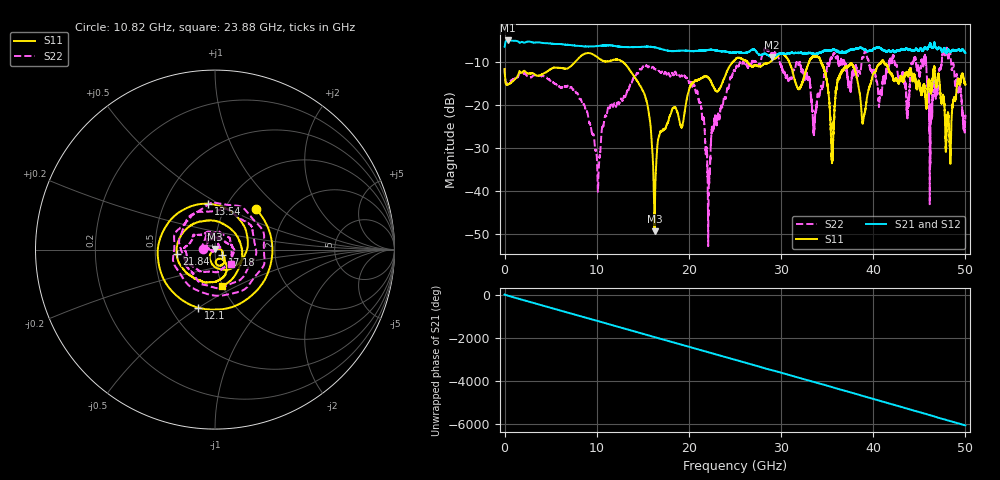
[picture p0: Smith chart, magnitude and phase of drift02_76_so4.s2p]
!Created with skrf (http://scikit-rf.org).
# Hz S RI R 50.0
!freq ReS11 ImS11 ReS21 ImS21 ReS12 ImS12 ReS22 ImS22
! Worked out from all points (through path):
!   10001 points, 300 kHz to 50 GHz, reference 50 ohm
!   highest |S21| = -5.04 dB at 325.3 MHz (marker M1); lowest = -8.9 dB at 28.98 GHz (marker M2)
!   group delay of S21, straight-line fit = 336 ps
!   lowest |S11| = -49.4 dB at 16.27 GHz (marker M3), VSWR 1.01, Z = 49.9 + j0.306 ohm
!   |S11| at or under -10 dB: start of sweep to 7.667 GHz; 12.82 GHz to 24.78 GHz (11.96 GHz wide, 63.6 % of centre); 41.14 GHz to end of sweep (the widest 3 of 9)
!   |S22| runs from -52.9 to -6.7 dB; largest |S21 - S12| = 0.031
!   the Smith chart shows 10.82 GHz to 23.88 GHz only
!   S11 on the Smith chart (normalised r, x): 10.82 GHz: 1.39, +0.70; 12.1 GHz: 0.68, -0.50; 13.54 GHz: 0.82, +0.45; 17.18 GHz: 1.08, -0.06; 21.84 GHz: 0.65, -0.03; 23.88 GHz: 0.99, -0.42
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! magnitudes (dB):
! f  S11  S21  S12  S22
! 300 kHz  -11.7  -6.5  -6.5  -11.5
! 325.3 MHz  -15.3  -5.0  -5.0  -15.1
! 8.335 GHz  -8.6  -6.4  -6.4  -19.1
! 10.11 GHz  -9.0  -6.3  -6.3  -39.1
! 10.82 GHz  -9.9  -6.2  -6.2  -23.6
! 12.1 GHz  -9.5  -6.4  -6.4  -20.4
! 13.54 GHz  -11.8  -6.6  -6.6  -15.9
! 16.27 GHz  -49.4  -6.7  -6.6  -11.7
! 16.67 GHz  -28.0  -6.8  -6.8  -12.1
! 17.18 GHz  -25.9  -7.1  -7.1  -12.6
! 21.84 GHz  -13.3  -7.3  -7.3  -30.8
! 23.88 GHz  -13.6  -7.6  -7.6  -18.3
! 25 GHz  -9.5  -7.8  -7.8  -12.0
! 28.98 GHz  -9.7  -8.9  -8.9  -8.0
! 33.34 GHz  -9.2  -8.0  -8.0  -19.8
! 35.55 GHz  -31.1  -7.2  -7.2  -9.2
! 36.79 GHz  -11.7  -7.9  -8.1  -9.3
! 41.67 GHz  -11.9  -7.3  -7.5  -12.2
! 45.5 GHz  -15.3  -7.0  -7.0  -9.6
! 46.25 GHz  -17.2  -6.1  -6.1  -21.7
! 48.13 GHz  -22.0  -7.1  -7.1  -9.1
! 50 GHz  -15.3  -7.9  -7.8  -22.7
